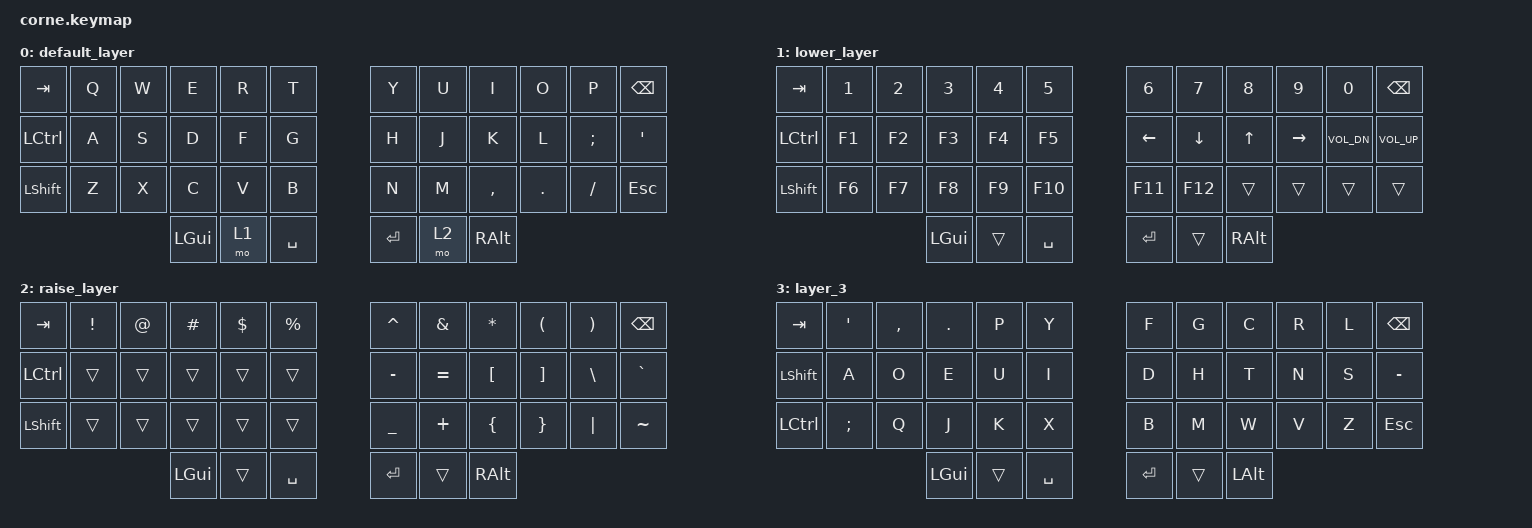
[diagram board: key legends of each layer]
/*
 * Copyright (c) 2020 The ZMK Contributors
 *
 * SPDX-License-Identifier: MIT
 */

#include <behaviors.dtsi>
#include <dt-bindings/zmk/keys.h>

/ {
    combos {
        compatible = "zmk,combos";

        dvorak {
            bindings = <&to 3>;
            key-positions = <15 37 24>;
        };

        qwerty {
            bindings = <&to 0>;
            key-positions = <1 37 24>;
        };
    };

    keymap {
        compatible = "zmk,keymap";

        default_layer {
            // -----------------------------------------------------------------------------------------
            // |  TAB |  Q  |  W  |  E  |  R  |  T  |   |  Y  |  U   |  I  |  O  |  P  | BKSP |
            // | CTRL |  A  |  S  |  D  |  F  |  G  |   |  H  |  J   |  K  |  L  |  ;  |  '   |
            // | SHFT |  Z  |  X  |  C  |  V  |  B  |   |  N  |  M   |  ,  |  .  |  /  | ESC  |
            //                    | GUI | LWR | SPC |   | ENT | RSE  | ALT |

            bindings = <
&kp TAB    &kp Q  &kp W  &kp E     &kp R  &kp T        &kp Y    &kp U  &kp I      &kp O    &kp P     &kp BSPC
&kp LCTRL  &kp A  &kp S  &kp D     &kp F  &kp G        &kp H    &kp J  &kp K      &kp L    &kp SEMI  &kp SQT
&kp LSHFT  &kp Z  &kp X  &kp C     &kp V  &kp B        &kp N    &kp M  &kp COMMA  &kp DOT  &kp FSLH  &kp ESC
                         &kp LGUI  &mo 1  &kp SPACE    &kp RET  &mo 2  &kp RALT
            >;
        };

        lower_layer {
            // -----------------------------------------------------------------------------------------
            // |  TAB |  1  |  2  |  3  |  4  |  5  |   |  6  |  7  |  8  |  9  |  0  | BKSP |
            // | BTCLR| BT1 | BT2 | BT3 | BT4 | BT5 |   | LFT | DWN |  UP | RGT |     |      |
            // | SHFT |     |     |     |     |     |   |     |     |     |     |     |      |
            //                    | GUI |     | SPC |   | ENT |     | ALT |

            bindings = <
&kp TAB    &kp N1  &kp N2  &kp N3    &kp N4  &kp N5       &kp N6    &kp N7    &kp N8    &kp N9     &kp N0        &kp BSPC
&kp LCTRL  &kp F1  &kp F2  &kp F3    &kp F4  &kp F5       &kp LEFT  &kp DOWN  &kp UP    &kp RIGHT  &kp C_VOL_DN  &kp C_VOL_UP
&kp LSHFT  &kp F6  &kp F7  &kp F8    &kp F9  &kp F10      &kp F11   &kp F12   &trans    &trans     &trans        &trans
                           &kp LGUI  &trans  &kp SPACE    &kp RET   &trans    &kp RALT
            >;
        };

        raise_layer {
            // -----------------------------------------------------------------------------------------
            // |  TAB |  !  |  @  |  #  |  $  |  %  |   |  ^  |  &  |  *  |  (  |  )  | BKSP |
            // | CTRL |     |     |     |     |     |   |  -  |  =  |  [  |  ]  |  \  |  `   |
            // | SHFT |     |     |     |     |     |   |  _  |  +  |  {  |  }  | "|" |  ~   |
            //                    | GUI |     | SPC |   | ENT |     | ALT |

            bindings = <
&kp TAB    &kp EXCL  &kp AT  &kp HASH  &kp DLLR  &kp PRCNT    &kp CARET  &kp AMPS   &kp ASTRK  &kp LPAR  &kp RPAR  &kp BSPC
&kp LCTRL  &trans    &trans  &trans    &trans    &trans       &kp MINUS  &kp EQUAL  &kp LBKT   &kp RBKT  &kp BSLH  &kp GRAVE
&kp LSHFT  &trans    &trans  &trans    &trans    &trans       &kp UNDER  &kp PLUS   &kp LBRC   &kp RBRC  &kp PIPE  &kp TILDE
                             &kp LGUI  &trans    &kp SPACE    &kp RET    &trans     &kp RALT
            >;
        };

        layer_3 {
            bindings = <
&kp TAB    &kp APOS  &kp COMMA  &kp DOT   &kp P   &kp Y        &kp F      &kp G   &kp C     &kp R  &kp L  &kp BSPC
&kp LSHFT  &kp A     &kp O      &kp E     &kp U   &kp I        &kp D      &kp H   &kp T     &kp N  &kp S  &kp MINUS
&kp LCTRL  &kp SEMI  &kp Q      &kp J     &kp K   &kp X        &kp B      &kp M   &kp W     &kp V  &kp Z  &kp ESC
                                &kp LGUI  &trans  &kp SPACE    &kp ENTER  &trans  &kp LALT
            >;
        };
    };

    conditional_layers { compatible = "zmk,conditional-layers"; };
};
